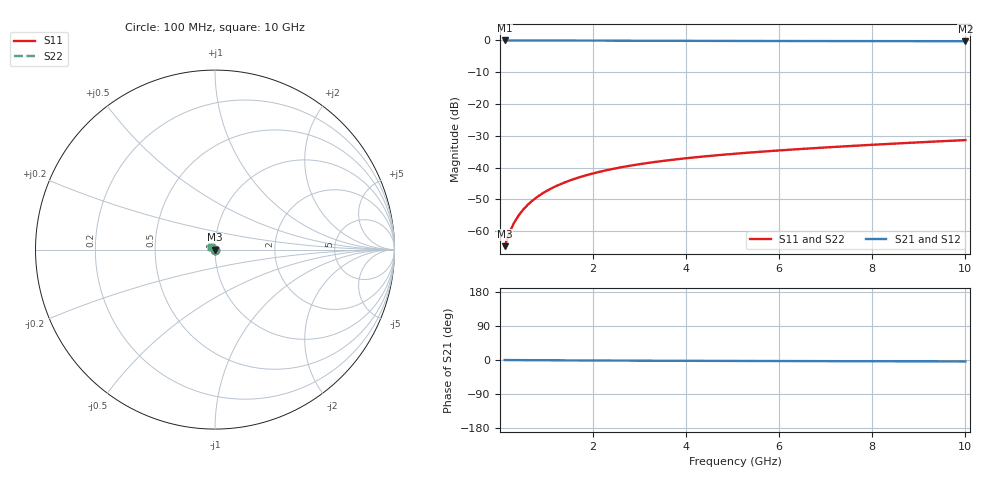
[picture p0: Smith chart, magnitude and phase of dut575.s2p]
! Touchstone file exported from HFSS 2024.1.0
!  File:  C:/UserFiles/LocalFiles/RDL_TSV_Batchsim/temp_TSV1_575_1779708667.aedt
!  Generated:  07:37:53 PM May 25, 2026
!  Design:  TSV1
!  Project:  temp_TSV1_575_1779708667
!  Setup:  Setup1
!  Solution:  Sweep
! Variables:
!  dtsv = 5.24um
!  hbump = 3um
!  htsv = 54.47um
!  lrdl = 252.1521522um
!  p = 40
!  p1 = 44.04um
!  t = 500um
!  trdl = 3um
!  wrdl = 24.89489489um
# GHz S MA R 50.000000
! Terminal data exported
! Port[1] = TSV22_T1
! Port[2] = TSV22_T2
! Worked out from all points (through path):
!   100 points, 100 MHz to 10 GHz, reference 50 ohm
!   highest |S21| = 0.00 dB at 100 MHz (marker M1); lowest = -0.2 dB at 10 GHz (marker M2)
!   lowest |S11| = -64.7 dB at 100 MHz (marker M3), VSWR 1.00, Z = 50 - j0.0439 ohm
!   |S11| at or under -10 dB: start of sweep to end of sweep
!   |S22| runs from -64.7 to -31.3 dB; largest |S21 - S12| = 4.1e-15
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0.1  0.0005813 -49.0  0.9996 -0.1  0.9996 -0.1  0.0005813 -49.0
! Gamma 0 0 0 0
! Port Impedance 50 0 50 0
0.2  0.0009384 -69.8  0.9995 -0.1  0.9995 -0.1  0.0009384 -69.8
0.3  0.001343 -80.0  0.9994 -0.2  0.9994 -0.2  0.001343 -80.0
0.4  0.001763 -86.3  0.9993 -0.3  0.9993 -0.3  0.001763 -86.3
0.5  0.002187 -91.0  0.9991 -0.4  0.9991 -0.4  0.002187 -91.0
0.6  0.002611 -94.7  0.9989 -0.4  0.9989 -0.4  0.002611 -94.7
0.7  0.003034 -98.0  0.9987 -0.5  0.9987 -0.5  0.003034 -98.0
0.8  0.003454 -101.0  0.9985 -0.6  0.9985 -0.6  0.003454 -101.0
0.9  0.00387 -103.8  0.9982 -0.6  0.9982 -0.6  0.00387 -103.8
1  0.004282 -106.4  0.9979 -0.7  0.9979 -0.7  0.004282 -106.4
1.2  0.005092 -111.2  0.9973 -0.8  0.9973 -0.8  0.005092 -111.2
1.5  0.006266 -118.0  0.9961 -1.0  0.9961 -1.0  0.006266 -118.0
1.8  0.007386 -124.3  0.9949 -1.2  0.9949 -1.2  0.007386 -124.3
2.1  0.00845 -130.2  0.9936 -1.4  0.9936 -1.4  0.00845 -130.2
2.5  0.009781 -137.6  0.9918 -1.6  0.9918 -1.6  0.009781 -137.6
2.9  0.01102 -144.4  0.99 -1.7  0.99 -1.7  0.01102 -144.4
3.4  0.01245 -152.3  0.9879 -1.9  0.9879 -1.9  0.01245 -152.3
4.2  0.01453 -163.5  0.9848 -2.2  0.9848 -2.2  0.01453 -163.5
5.1  0.01664 -174.2  0.9818 -2.5  0.9818 -2.5  0.01664 -174.2
6.7  0.02011 170.4  0.978 -3.0  0.978 -3.0  0.02011 170.4
8.4  0.02369 157.9  0.9753 -3.4  0.9753 -3.4  0.02369 157.9
10  0.02709 148.7  0.9734 -3.9  0.9734 -3.9  0.02709 148.7
